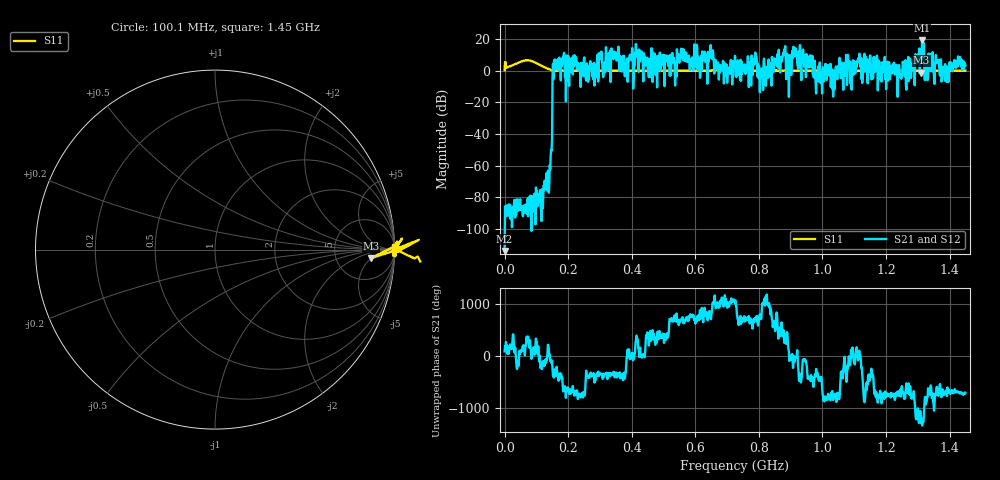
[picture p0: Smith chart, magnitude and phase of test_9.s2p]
! Created with skrf 1.11.0 (http://scikit-rf.org).
# Hz S RI R 50.0
!freq ReS11 ImS11 ReS21 ImS21 ReS12 ImS12 ReS22 ImS22
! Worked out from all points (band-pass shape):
!   1001 points, 50 kHz to 1.45 GHz, reference 50 ohm
!   highest |S21| = 19.07 dB at 1.314 GHz (marker M1); lowest = -114.0 dB at 50 kHz (marker M2)
!   |S21| within 3 dB of the highest: 413.1388 MHz to 413.4276 MHz (288.8 kHz wide, 0.0699 % of centre); 597.3449 MHz to 597.5575 MHz (212.6 kHz wide, 0.0356 % of centre) (the widest 2 of 7)
!   lowest |S11| = -1.2 dB at 1.311 GHz (marker M3), VSWR 14.35, Z = 619 - j246 ohm
!   |S11| at or under -10 dB: nowhere
!   |S22| runs from - to - dB; largest |S21 - S12| = 0
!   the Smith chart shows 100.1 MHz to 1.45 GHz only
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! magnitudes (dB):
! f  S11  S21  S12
! 50 kHz  0.3  -114.0  -114.0
! 117.5 MHz  3.0  -75.0  -75.0
! 142.1 MHz  0.7  -59.7  -59.7
! 158.1 MHz  0.0  4.8  4.8
! 242.2 MHz  0.0  0.9  0.9
! 350.9 MHz  0.1  11.4  11.4
! 384.3 MHz  0.0  6.9  6.9
! 484.3 MHz  0.0  0.2  0.2
! 651.1 MHz  0.1  10.6  10.6
! 725 MHz  0.1  9.3  9.3
! 790.3 MHz  0.1  5.3  5.3
! 806.2 MHz  0.1  -0.3  -0.3
! 912.1 MHz  0.0  12.7  12.7
! 967.2 MHz  0.1  2.4  2.4
! 1.034 GHz  0.0  -16.4  -16.4
! 1.114 GHz  0.1  8.0  8.0
! 1.209 GHz  0.0  5.4  5.4
! 1.267 GHz  0.0  -1.2  -1.2
! 1.311 GHz  -1.2  11.4  11.4
! 1.314 GHz  0.0  19.1  19.1
! 1.328 GHz  0.0  4.3  4.3
! 1.45 GHz  0.0  3.3  3.3
